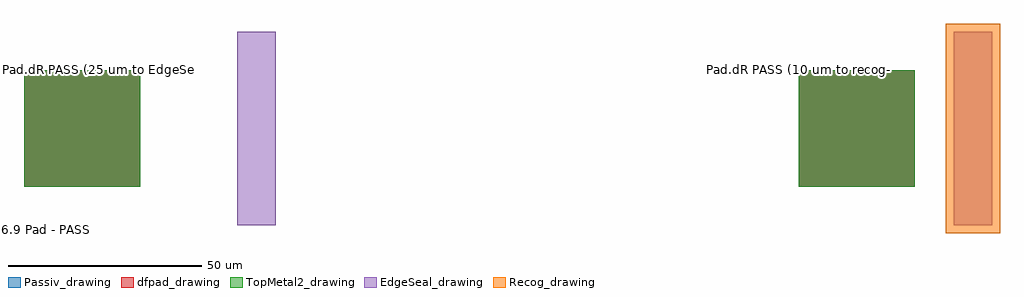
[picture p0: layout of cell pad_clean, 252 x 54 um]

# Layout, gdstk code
import gdstk
lib = gdstk.Library(unit=1e-6, precision=1e-09)
def R(c, l, rs):  # rectangles x0, y0, x1, y1
    for r in rs: c.add(gdstk.rectangle(r[:2], r[2:], *l))
Passiv_drawing = (9, 0)
EdgeSeal_drawing = (39, 0)
dfpad_drawing = (41, 0)
Recog_drawing = (99, 0)
TopMetal2_drawing = (134, 0)

pad_clean = lib.new_cell('pad_clean')
R(pad_clean, Passiv_drawing, [(0,0,30,30), (200,0,230,30)])
R(pad_clean, EdgeSeal_drawing, [(55,-10,65,40), (240,-10,250,40)])
R(pad_clean, dfpad_drawing, [(0,0,30,30), (200,0,230,30)])
R(pad_clean, Recog_drawing, [(238,-12,252,42)])
R(pad_clean, TopMetal2_drawing, [(0,0,30,30), (200,0,230,30)])
pad_clean.add(gdstk.Label('6.9 Pad - PASS', (0,-11), layer=63, texttype=0))
pad_clean.add(gdstk.Label('Pad.dR PASS (25 um to EdgeSeal)', (0,30.3), layer=63, texttype=0))
pad_clean.add(gdstk.Label('Pad.dR PASS (10 um to recog-covered EdgeSeal)', (200,30.3), layer=63, texttype=0))

lib.write_gds('pad_clean.gds')
